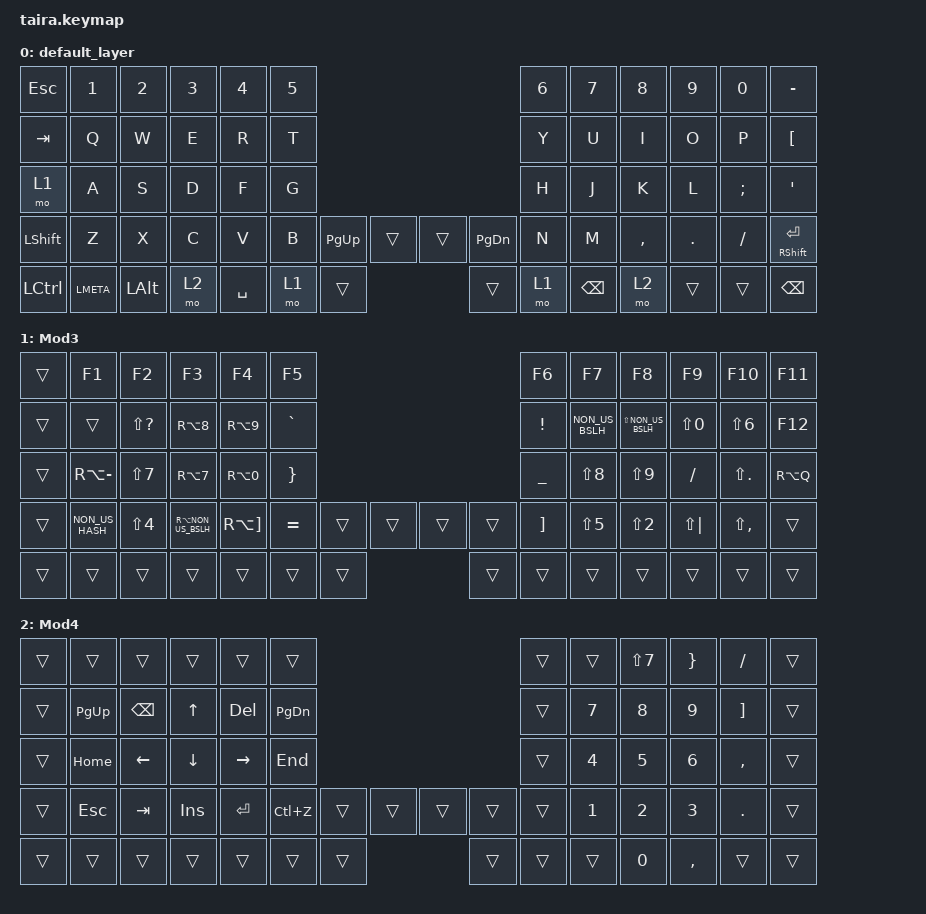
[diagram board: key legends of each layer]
/*
 * Copyright (c) 2020 The ZMK Contributors
 *
 * SPDX-License-Identifier: MIT
 */

#include <behaviors.dtsi>
#include <dt-bindings/zmk/keys.h>

#define DEFAULT 0
#define Mod3    1
#define Mod4    2

/ {
    conditional_layers { compatible = "zmk,conditional-layers"; };

    combos {
        compatible = "zmk,combos";

        Capslock {
            bindings = <&kp CAPS>;
            key-positions = <36 51>;
            layers = <0>;
        };
    };

    keymap {
        compatible = "zmk,keymap";

        default_layer {
            /* QWERTZ
 * .----------------------------------------------------------------------------------------------------------------------------------.
 * |  `   |   1  |   2  |   3  |   4  |   5  |                                              |   6  |   7  |   8  |   9  |   0  | PScr |
 * |-------------+------+------+------+------+------+------+-------+-+-------+-------+------+------+------+------+------+------+------|
 * | ESC  |   Q  |   W  |   E  |   R  |   T  |                                              |   Y  |   U  |   I  |   O  |   P  |  \   |
 * |-------------+------+------+------+------+------+------+-------+-+-------+-------+------+------+------+------+------+------+------|
 * | Tab  |   A  |   S  |   D  |   F  |   G  |                                              |   H  |   J  |   K  |   L  |   ;  |  '   |
 * |-------------+------+------+------+------+------+------+-------+-+-------+-------+------+------+------+------+------+------+------|
 * | Shift|   Z  |   X  |   C  |   V  |   B  |      | Del  | PGDN  | | PGUP  | Home  |      |   N  |   M  |   ,  |   .  |   /  | Shift|
 * |-------------+------+------+------+------+------+------+-------+-+-------+-------+------+------+------+------+------+------+------|
 * | Ctrl | Alt  | Meta | Alt  |             | Meta | Space| Lower | | Raise | Enter | RAlt |             | LEFT | DOWN | UP   | RIGHT|
 * .----------------------------------------------------------------------------------------------------------------------------------.
 */

            bindings = <
&kp ESC           &kp N1     &kp N2        &kp N3  &kp N4  &kp N5                                                                        &kp N6  &kp N7  &kp N8     &kp N9   &kp N0     &kp MINUS
&kp TAB           &kp Q      &kp W         &kp E   &kp R   &kp T                                                                         &kp Y   &kp U   &kp I      &kp O    &kp P      &kp LEFT_BRACKET
&mo 1             &kp A      &kp S         &kp D   &kp F   &kp G                                                                         &kp H   &kp J   &kp K      &kp L    &kp SEMI   &kp SQT
&kp LSHFT         &kp Z      &kp X         &kp C   &kp V   &kp B              &kp PAGE_UP  &trans  &trans  &kp PAGE_DOWN                 &kp N   &kp M   &kp COMMA  &kp DOT  &kp SLASH  &mt RSHFT ENTER
&kp LEFT_CONTROL  &kp LMETA  &kp LEFT_ALT  &mo 2                   &kp SPACE  &mo 1        &trans  &trans  &mo 1          &kp BACKSPACE                  &mo 2      &trans   &trans     &kp BACKSPACE
            >;
        };

        Mod3 {
            bindings = <
&trans  &kp F1           &kp F2            &kp F3               &kp F4                 &kp F5                                                     &kp F6             &kp F7           &kp F8               &kp F9        &kp F10           &kp F11
&trans  &trans           &kp LS(QUESTION)  &kp RA(N8)           &kp RA(N9)             &kp GRAVE                                                  &kp EXCLAMATION    &kp NON_US_BSLH  &kp LS(NON_US_BSLH)  &kp LS(N0)    &kp LS(NUMBER_6)  &kp F12
&trans  &kp RA(MINUS)    &kp LS(N7)        &kp RA(N7)           &kp RA(N0)             &kp RBRC                                                   &kp UNDER          &kp LS(N8)       &kp LS(N9)           &kp SLASH     &kp LS(PERIOD)    &kp RA(Q)
&trans  &kp NON_US_HASH  &kp LS(N4)        &kp RA(NON_US_BSLH)  &kp RA(RIGHT_BRACKET)  &kp EQUAL          &trans  &trans  &trans  &trans          &kp RIGHT_BRACKET  &kp LS(N5)       &kp LS(NUMBER_2)     &kp LS(PIPE)  &kp LS(COMMA)     &trans
&trans  &trans           &trans            &trans                                                 &trans  &trans  &trans  &trans  &trans  &trans                                      &trans               &trans        &trans            &trans
            >;
        };

        Mod4 {
            bindings = <
&trans  &trans     &trans    &trans      &trans     &trans                                                     &trans  &trans  &kp LS(N7)    &kp RBRC   &kp SLASH          &trans
&trans  &kp PG_UP  &kp BSPC  &kp UP      &kp DEL    &kp PG_DN                                                  &trans  &kp N7  &kp N8        &kp N9     &kp RIGHT_BRACKET  &trans
&trans  &kp HOME   &kp LEFT  &kp DOWN    &kp RIGHT  &kp END                                                    &trans  &kp N4  &kp N5        &kp N6     &kp COMMA          &trans
&trans  &kp ESC    &kp TAB   &kp INSERT  &kp RET    &kp LC(Z)          &trans  &trans  &trans  &trans          &trans  &kp N1  &kp N2        &kp N3     &kp PERIOD         &trans
&trans  &trans     &trans    &trans                            &trans  &trans  &trans  &trans  &trans  &trans                  &kp NUMBER_0  &kp COMMA  &trans             &trans
            >;
        };
    };
};
